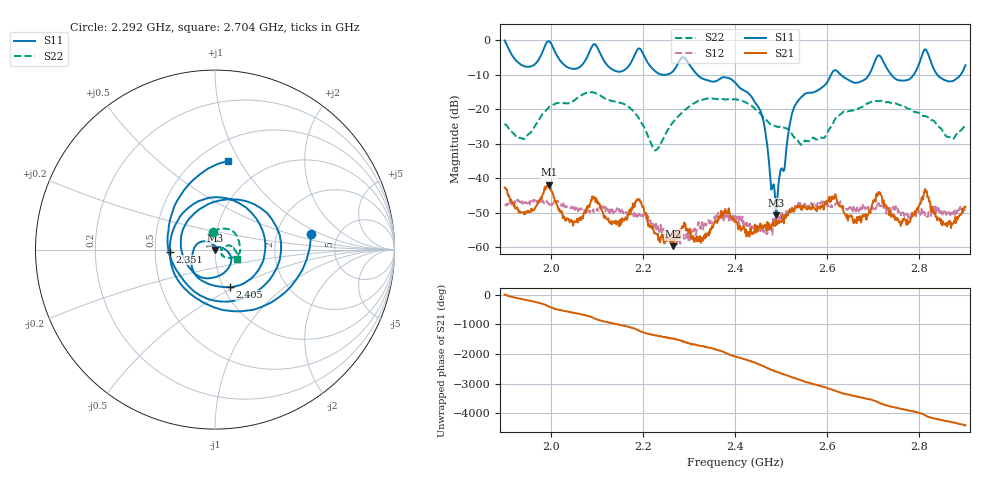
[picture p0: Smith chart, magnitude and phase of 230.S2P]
! C:\Users\rflab\Downloads\Lab5_KD_ZW\230.S2P
! Touchstone 1.1 file saved by VNA.EXE V1.65 (www.ke5fx.com/gpib/readme.htm)
! 11/12/2024 12:22:58 AM
!  Source: HEWLETT PACKARD,8753D,0,6.14
!  Min freq: 1.900000E+009 Hz
!  Max freq: 2.900000E+009 Hz
!  Points: 801
!  Params: S11 S21 S12 S22
# GHZ S RI R 50
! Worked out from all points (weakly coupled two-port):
!   801 points, 1.9 GHz to 2.9 GHz, reference 50 ohm
!   highest |S21| = -41.82 dB at 1.996 GHz (marker M1); lowest = -59.7 dB at 2.266 GHz (marker M2)
!   lowest |S11| = -50.7 dB at 2.49 GHz (marker M3), VSWR 1.01, Z = 49.8 - j0.217 ohm
!   |S11| at or under -10 dB: 2.318 GHz to 2.608 GHz (289.7 MHz wide, 11.8 % of centre); 2.63 GHz to 2.691 GHz (60.73 MHz wide, 2.28 % of centre); 2.839 GHz to 2.89 GHz (50.09 MHz wide, 1.75 % of centre) (the widest 3 of 4)
!   |S22| runs from -32.0 to -15.0 dB; largest |S21 - S12| = 0.0041
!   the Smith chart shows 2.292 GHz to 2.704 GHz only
!   S11 on the Smith chart (normalised r, x): 2.292 GHz: 3.17, +0.76; 2.351 GHz: 0.60, -0.01; 2.405 GHz: 1.08, -0.47; 2.704 GHz: 0.68, +0.90
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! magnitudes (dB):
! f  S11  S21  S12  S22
! 1.9 GHz  0.0  -42.7  -47.5  -24.2
! 1.942 GHz  -7.5  -50.5  -47.1  -28.6
! 1.996 GHz  -0.3  -41.8  -47.4  -19.4
! 2.067 GHz  -7.2  -51.7  -49.0  -15.9
! 2.191 GHz  -2.3  -46.2  -50.3  -22.6
! 2.234 GHz  -9.6  -58.0  -53.7  -31.1
! 2.266 GHz  -8.9  -59.7  -57.8  -23.6
! 2.292 GHz  -5.3  -53.3  -57.4  -20.1
! 2.351 GHz  -11.9  -54.4  -53.1  -16.9
! 2.4 GHz  -12.1  -52.7  -52.1  -17.1
! 2.405 GHz  -13.0  -53.0  -51.6  -17.1
! 2.456 GHz  -20.9  -53.7  -54.6  -21.5
! 2.49 GHz  -50.7  -53.4  -53.5  -24.9
! 2.526 GHz  -20.1  -49.3  -49.4  -27.7
! 2.567 GHz  -15.1  -48.6  -47.8  -28.3
! 2.661 GHz  -12.3  -52.3  -48.5  -20.3
! 2.704 GHz  -6.0  -46.2  -49.1  -17.6
! 2.734 GHz  -9.0  -49.0  -49.3  -17.9
! 2.776 GHz  -11.4  -53.2  -51.4  -19.8
! 2.812 GHz  -2.6  -43.1  -50.7  -22.0
! 2.855 GHz  -11.5  -53.2  -49.8  -27.2
! 2.9 GHz  -7.2  -48.3  -49.3  -24.7
